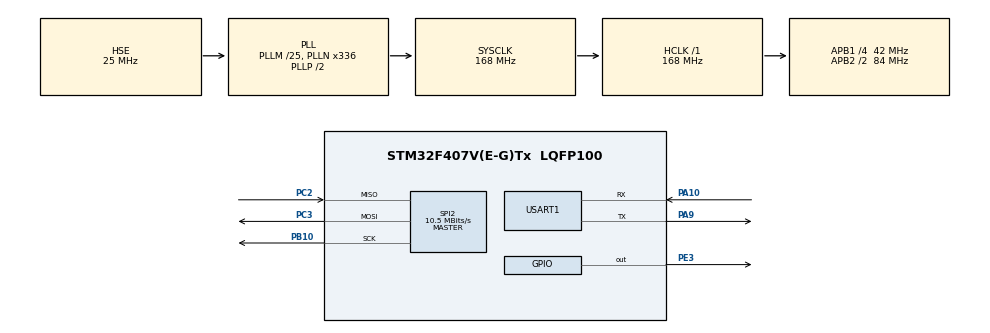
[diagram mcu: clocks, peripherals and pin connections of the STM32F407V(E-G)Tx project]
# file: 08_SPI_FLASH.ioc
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Mcu.Family=STM32F4
Mcu.Name=STM32F407V(E-G)Tx
Mcu.Package=LQFP100
NVIC.PriorityGroup=NVIC_PRIORITYGROUP_4
PA10.GPIO_Speed=GPIO_SPEED_FREQ_HIGH
PA10.Mode=Asynchronous
PA10.Signal=USART1_RX
PA13.Mode=Serial_Wire
PA13.Signal=SYS_JTMS-SWDIO
PA14.Mode=Serial_Wire
PA14.Signal=SYS_JTCK-SWCLK
PA9.GPIO_Speed=GPIO_SPEED_FREQ_HIGH
PA9.Mode=Asynchronous
PA9.Signal=USART1_TX
PB10.GPIO_Speed=GPIO_SPEED_FREQ_HIGH
PB10.Mode=Full_Duplex_Master
PB10.Signal=SPI2_SCK
PC2.GPIO_Speed=GPIO_SPEED_FREQ_HIGH
PC2.Mode=Full_Duplex_Master
PC2.Signal=SPI2_MISO
PC3.GPIO_Speed=GPIO_SPEED_FREQ_HIGH
PC3.Mode=Full_Duplex_Master
PC3.Signal=SPI2_MOSI
PE3.GPIO_PuPd=GPIO_PULLUP
PE3.Signal=GPIO_Output
PH0-OSC_IN.Mode=HSE-External-Oscillator
PH0-OSC_IN.Signal=RCC_OSC_IN
PH1-OSC_OUT.Mode=HSE-External-Oscillator
PH1-OSC_OUT.Signal=RCC_OSC_OUT
ProjectManager.HeapSize=0x200
ProjectManager.StackSize=0x400
ProjectManager.TargetToolchain=STM32CubeIDE
RCC.48MHZClocksFreq_Value=84000000
RCC.AHBFreq_Value=168000000
RCC.APB1CLKDivider=RCC_HCLK_DIV4
RCC.APB1Freq_Value=42000000
RCC.APB1TimFreq_Value=84000000
RCC.APB2CLKDivider=RCC_HCLK_DIV2
RCC.APB2Freq_Value=84000000
RCC.APB2TimFreq_Value=168000000
RCC.CortexFreq_Value=168000000
RCC.HCLKFreq_Value=168000000
RCC.HSE_VALUE=25000000
RCC.HSI_VALUE=16000000
RCC.LSE_VALUE=32768
RCC.PLLM=25
RCC.PLLN=336
RCC.PLLSourceVirtual=RCC_PLLSOURCE_HSE
RCC.SYSCLKFreq_VALUE=168000000
RCC.SYSCLKSource=RCC_SYSCLKSOURCE_PLLCLK
RCC.VCOOutputFreq_Value=336000000
SPI2.BaudRatePrescaler=SPI_BAUDRATEPRESCALER_4
SPI2.CLKPolarity=SPI_POLARITY_LOW
SPI2.CalculateBaudRate=10.5 MBits/s
SPI2.Direction=SPI_DIRECTION_2LINES
SPI2.Mode=SPI_MODE_MASTER
SPI2.VirtualType=VM_MASTER
USART1.VirtualMode=VM_ASYNC
board=custom

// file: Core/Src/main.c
/* USER CODE BEGIN Header */
/**
  ******************************************************************************
  * @file           : main.c
  * @brief          : Main program body
  ******************************************************************************
  * @attention
  *
  * Copyright (c) 2025 STMicroelectronics.
  * All rights reserved.
  *
  * This software is licensed under terms that can be found in the LICENSE file
  * in the root directory of this software component.
  * If no LICENSE file comes with this software, it is provided AS-IS.
  *
  ******************************************************************************
  */
/* USER CODE END Header */
#include "main.h"
#include "spi.h"
#include "usart.h"
#include "gpio.h"

/* USER CODE BEGIN Includes */
#include <stdio.h>
/* USER CODE END Includes */

/* USER CODE BEGIN PD */
#define W25Q128_CS_LOW()  HAL_GPIO_WritePin(GPIOE, GPIO_PIN_3, GPIO_PIN_RESET)
#define W25Q128_CS_HIGH() HAL_GPIO_WritePin(GPIOE, GPIO_PIN_3, GPIO_PIN_SET)

#define W25Q128_CMD_WRITE_ENABLE   0x06
#define W25Q128_CMD_READ_ID        0x9F
#define W25Q128_CMD_READ_DATA      0x03
#define W25Q128_CMD_PAGE_PROGRAM   0x02
#define W25Q128_CMD_SECTOR_ERASE   0x20
#define W25Q128_CMD_CHIP_ERASE     0xC7
#define W25Q128_CMD_READ_STATUS1   0x05
/* USER CODE END PD */

void SystemClock_Config(void);

/* USER CODE BEGIN 0 */
int _write(int file, char *ptr, int len)
{
  HAL_UART_Transmit(&huart1, (const uint8_t*)ptr, len, 50);
  return len;
}

///////////////// W25Q128 Functions /////////////////
// W25Q128 Read ID
uint32_t W25Q128_ReadID(SPI_HandleTypeDef *hspi) {
  uint8_t cmd = W25Q128_CMD_READ_ID;
  uint8_t id[3] = {0};

  W25Q128_CS_LOW();
  HAL_SPI_Transmit(hspi, &cmd, 1, HAL_MAX_DELAY);
  HAL_SPI_Receive(hspi, id, 3, HAL_MAX_DELAY);
  W25Q128_CS_HIGH();

  printf("\nManufacturer ID: 0x%X, Memory Type: 0x%X, Capacity: 0x%X\n", id[0], id[1], id[2]);

  return (id[0] << 16) | (id[1] << 8) | id[2];
}

// W25Q128 Write Enable
void W25Q128_WriteEnable(SPI_HandleTypeDef *hspi) {
  uint8_t cmd = W25Q128_CMD_WRITE_ENABLE;

  W25Q128_CS_LOW();
  HAL_SPI_Transmit(hspi, &cmd, 1, HAL_MAX_DELAY);
  W25Q128_CS_HIGH();
}

/* W25Q128 Write Page
 *
 * Only writeable within page size (256B)!
 * Must erase sectors (4KB) before writing new data.
*/
void W25Q128_WritePage(SPI_HandleTypeDef *hspi, uint32_t address, uint8_t *data, uint16_t length) {
  uint8_t cmd[4];

  if (length > 256) return;  // Page size is limited to 256 bytes

  W25Q128_WriteEnable(hspi);  // Enable writing

  cmd[0] = W25Q128_CMD_PAGE_PROGRAM;
  cmd[1] = (address >> 16) & 0xFF;
  cmd[2] = (address >> 8) & 0xFF;
  cmd[3] = address & 0xFF;

  W25Q128_CS_LOW();
  HAL_SPI_Transmit(hspi, cmd, 4, HAL_MAX_DELAY);
  HAL_SPI_Transmit(hspi, data, length, HAL_MAX_DELAY);
  W25Q128_CS_HIGH();
}

// W25Q128 Erase sector
void W25Q128_EraseSector(SPI_HandleTypeDef *hspi, uint32_t address) {
  uint8_t cmd[4];

  W25Q128_WriteEnable(hspi);  // 쓰기 활성화

  cmd[0] = W25Q128_CMD_SECTOR_ERASE;
  cmd[1] = (address >> 16) & 0xFF;
  cmd[2] = (address >> 8) & 0xFF;
  cmd[3] = address & 0xFF;

  W25Q128_CS_LOW();
  HAL_SPI_Transmit(hspi, cmd, 4, HAL_MAX_DELAY);
  W25Q128_CS_HIGH();

  HAL_Delay(50);  // 섹터 지우기 대기 (최대 50ms)
}

// Read Data from W25Q128
void W25Q128_ReadData(SPI_HandleTypeDef *hspi, uint32_t address, uint8_t *buffer, uint16_t length) {
  uint8_t cmd[4];

  cmd[0] = W25Q128_CMD_READ_DATA;
  cmd[1] = (address >> 16) & 0xFF;
  cmd[2] = (address >> 8) & 0xFF;
  cmd[3] = address & 0xFF;

  W25Q128_CS_LOW();
  HAL_SPI_Transmit(hspi, cmd, 4, HAL_MAX_DELAY);
  HAL_SPI_Receive(hspi, buffer, length, HAL_MAX_DELAY);
  W25Q128_CS_HIGH();
}

/* USER CODE END 0 */

int main(void)
{

  /* MCU Configuration--------------------------------------------------------*/

  /* Reset of all peripherals, Initializes the Flash interface and the Systick. */
  HAL_Init();

  /* Configure the system clock */
  SystemClock_Config();

  /* Initialize all configured peripherals */
  MX_GPIO_Init();
  MX_SPI2_Init();
  MX_USART1_UART_Init();

  /* USER CODE BEGIN 2 */
  uint8_t writeData[16] = "Hello, W25Q128!";
  uint8_t readData[16] = {0};

  printf("\nW25Q128 Read ID");
  W25Q128_ReadID(&hspi2);

  printf("\nW25Q128 Write Data\n");
  W25Q128_WriteEnable(&hspi2);
  W25Q128_WritePage(&hspi2, 0x000000, writeData, sizeof(writeData));
  HAL_Delay(50);

  printf("\nW25Q128 Read Data\n");
  W25Q128_ReadData(&hspi2, 0x000000, readData, sizeof(readData));

  printf("readData:%s\n", readData);
  /* USER CODE END 2 */

  /* Infinite loop */
  while (1)
  {

  }
}

void SystemClock_Config(void)
{
  RCC_OscInitTypeDef RCC_OscInitStruct = {0};
  RCC_ClkInitTypeDef RCC_ClkInitStruct = {0};

  /** Configure the main internal regulator output voltage
  */
  __HAL_RCC_PWR_CLK_ENABLE();
  __HAL_PWR_VOLTAGESCALING_CONFIG(PWR_REGULATOR_VOLTAGE_SCALE1);

  /** Initializes the RCC Oscillators according to the specified parameters
  * in the RCC_OscInitTypeDef structure.
  */
  RCC_OscInitStruct.OscillatorType = RCC_OSCILLATORTYPE_HSE;
  RCC_OscInitStruct.HSEState = RCC_HSE_ON;
  RCC_OscInitStruct.PLL.PLLState = RCC_PLL_ON;
  RCC_OscInitStruct.PLL.PLLSource = RCC_PLLSOURCE_HSE;
  RCC_OscInitStruct.PLL.PLLM = 25;
  RCC_OscInitStruct.PLL.PLLN = 336;
  RCC_OscInitStruct.PLL.PLLP = RCC_PLLP_DIV2;
  RCC_OscInitStruct.PLL.PLLQ = 4;
  if (HAL_RCC_OscConfig(&RCC_OscInitStruct) != HAL_OK)
  {
    Error_Handler();
  }

  /** Initializes the CPU, AHB and APB buses clocks
  */
  RCC_ClkInitStruct.ClockType = RCC_CLOCKTYPE_HCLK|RCC_CLOCKTYPE_SYSCLK
                              |RCC_CLOCKTYPE_PCLK1|RCC_CLOCKTYPE_PCLK2;
  RCC_ClkInitStruct.SYSCLKSource = RCC_SYSCLKSOURCE_PLLCLK;
  RCC_ClkInitStruct.AHBCLKDivider = RCC_SYSCLK_DIV1;
  RCC_ClkInitStruct.APB1CLKDivider = RCC_HCLK_DIV4;
  RCC_ClkInitStruct.APB2CLKDivider = RCC_HCLK_DIV2;

  if (HAL_RCC_ClockConfig(&RCC_ClkInitStruct, FLASH_LATENCY_5) != HAL_OK)
  {
    Error_Handler();
  }
}

void Error_Handler(void)
{
  __disable_irq();
  while (1)
  {
  }
}
